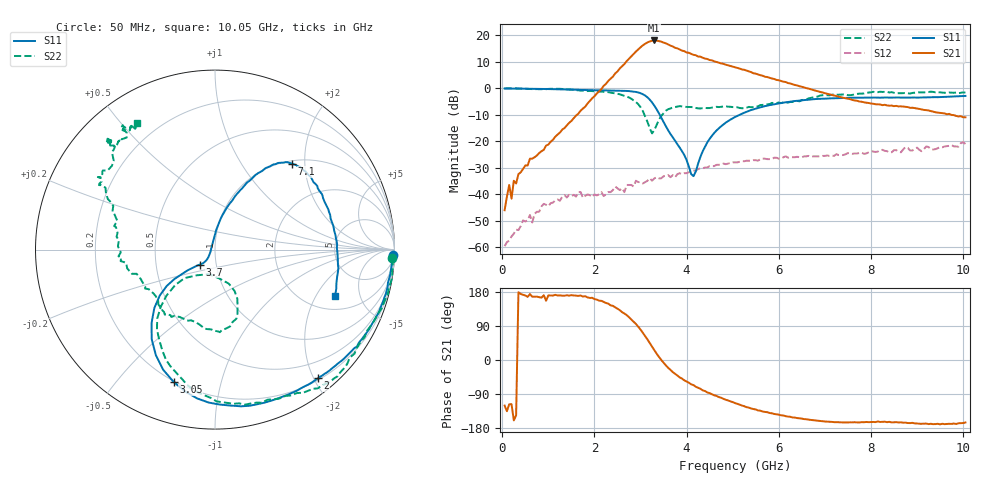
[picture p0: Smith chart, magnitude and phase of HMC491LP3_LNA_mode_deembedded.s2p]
!Hittite Microwave Corporation
!12 Elizabeth Drive
!Chelmsford, MA 01824
!Tel: 978-250-3343
!Fax: 978-250-3373
!Device: HMC491LP3, 3.4-3.8 GHz, GaAs MMIC Low Noise Amplifier with Bypass Mode in leadless SMT package
!Misc: LNA Mode, Room
# MHZ S MA R 50
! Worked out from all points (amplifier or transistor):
!   201 points, 50 MHz to 10.05 GHz, reference 50 ohm
!   highest |S21| = 18.0 dB at 3.3 GHz (marker M1)
!   |S21| within 3 dB of that: 2.973 GHz to 3.802 GHz (828.6 MHz wide, 24.5 % of centre)
!   unconditionally stable (mu >= 1): start of sweep to 1.123 GHz; 1.331 GHz to 2.286 GHz; 2.979 GHz to end of sweep (the widest 3 of 4)
!   at 1.7 GHz: K = 2.02, MAG = 9.6 dB, |S12| = -39.2 dB
!   at 5.05 GHz: K = 3.87, MAG = 9.1 dB, |S12| = -28.0 dB
!   at 10.05 GHz: K = 2.52, MAG = -1.8 dB, |S12| = -21.0 dB
!   S11 on the Smith chart (normalised r, x): 50 MHz: 17, -58; 2 GHz: 0.23, -2.06; 3.05 GHz: 0.20, -0.72; 3.7 GHz: 0.83, -0.14; 7.1 GHz: 1.06, +1.73; 10.05 GHz: 2.74, -2.93
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50  0.991 -1.8  0.005002 -120.3  0.00105 -2.1  0.99 -2.7
150  0.989 -4.2  0.015 -116.9  0.001341 61.9  0.995 -6.6
1750  0.929 -45.3  0.415 167.5  0.008565 88.3  0.904 -66.7
2000  0.918 -51.3  0.707 160.7  0.009968 73.9  0.88 -77.3
2400  0.904 -63.6  1.66 142.9  0.012 80.8  0.814 -94.1
2700  0.891 -77.5  3.256 118.4  0.015 68.5  0.695 -111.0
2900  0.853 -92.3  4.928 94.9  0.018 46.8  0.549 -126.1
3050  0.772 -107.4  6.445 71.7  0.016 22.1  0.372 -136.5
3150  0.674 -119.3  7.335 54.3  0.018 5.9  0.232 -136.8
3300  0.469 -136.1  7.988 25.8  0.02 -26.2  0.163 -81.3
3400  0.337 -143.0  7.763 8.0  0.02 -53.4  0.255 -64.7
3550  0.192 -142.9  7.056 -14.2  0.022 -76.7  0.378 -70.6
3700  0.119 -135.4  6.144 -32.0  0.023 -95.5  0.436 -78.9
3950  0.055 -131.6  5.011 -53.7  0.025 -115.7  0.452 -90.4
4150  0.022 160.0  4.272 -66.3  0.028 -127.6  0.437 -98.9
4350  0.065 94.8  3.767 -80.1  0.031 -133.7  0.423 -110.7
5050  0.287 70.8  2.496 -113.7  0.04 -148.3  0.441 -134.5
5700  0.461 62.0  1.652 -137.0  0.047 -155.6  0.497 -167.3
6750  0.62 51.5  0.928 -159.0  0.052 -151.3  0.674 153.5
7100  0.643 48.1  0.768 -163.0  0.053 -146.9  0.737 149.1
8400  0.667 30.9  0.469 -163.2  0.061 -136.2  0.834 134.3
10050  0.717 -21.2  0.284 -165.0  0.089 -127.4  0.829 121.6
